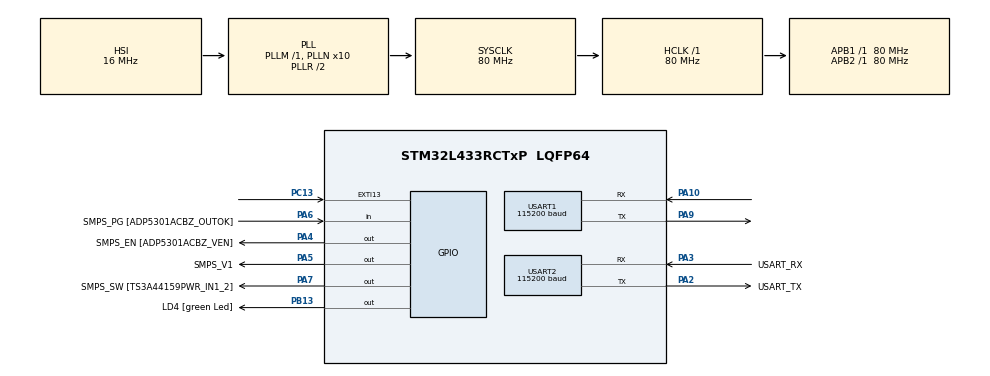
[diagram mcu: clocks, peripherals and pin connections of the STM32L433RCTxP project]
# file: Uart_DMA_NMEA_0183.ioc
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Dma.Request0=USART2_TX
Dma.Request1=USART1_RX
Dma.Request2=USART2_RX
Dma.USART1_RX.1.Direction=DMA_PERIPH_TO_MEMORY
Dma.USART1_RX.1.Instance=DMA1_Channel5
Dma.USART1_RX.1.MemDataAlignment=DMA_MDATAALIGN_BYTE
Dma.USART1_RX.1.MemInc=DMA_MINC_ENABLE
Dma.USART1_RX.1.Mode=DMA_CIRCULAR
Dma.USART1_RX.1.PeriphDataAlignment=DMA_PDATAALIGN_BYTE
Dma.USART1_RX.1.PeriphInc=DMA_PINC_DISABLE
Dma.USART1_RX.1.Priority=DMA_PRIORITY_VERY_HIGH
Dma.USART2_RX.2.Direction=DMA_PERIPH_TO_MEMORY
Dma.USART2_RX.2.Instance=DMA1_Channel6
Dma.USART2_RX.2.MemDataAlignment=DMA_MDATAALIGN_BYTE
Dma.USART2_RX.2.MemInc=DMA_MINC_ENABLE
Dma.USART2_RX.2.Mode=DMA_NORMAL
Dma.USART2_RX.2.PeriphDataAlignment=DMA_PDATAALIGN_BYTE
Dma.USART2_RX.2.PeriphInc=DMA_PINC_DISABLE
Dma.USART2_RX.2.Priority=DMA_PRIORITY_LOW
Dma.USART2_TX.0.Direction=DMA_MEMORY_TO_PERIPH
Dma.USART2_TX.0.Instance=DMA1_Channel7
Dma.USART2_TX.0.MemDataAlignment=DMA_MDATAALIGN_BYTE
Dma.USART2_TX.0.MemInc=DMA_MINC_ENABLE
Dma.USART2_TX.0.Mode=DMA_CIRCULAR
Dma.USART2_TX.0.PeriphDataAlignment=DMA_PDATAALIGN_BYTE
Dma.USART2_TX.0.PeriphInc=DMA_PINC_DISABLE
Dma.USART2_TX.0.Priority=DMA_PRIORITY_VERY_HIGH
Mcu.Family=STM32L4
Mcu.Name=STM32L433RCTxP
Mcu.Package=LQFP64
NVIC.DMA1_Channel5_IRQn=true\:0\:0\:false\:false\:true\:false\:true\:true
NVIC.DMA1_Channel6_IRQn=true\:0\:0\:false\:false\:true\:false\:true\:true
NVIC.DMA1_Channel7_IRQn=true\:0\:0\:false\:false\:true\:false\:true\:true
NVIC.PriorityGroup=NVIC_PRIORITYGROUP_4
NVIC.USART1_IRQn=true\:0\:0\:false\:false\:true\:true\:true\:true
NVIC.USART2_IRQn=true\:0\:0\:false\:false\:true\:true\:true\:true
PA10.Mode=Asynchronous
PA10.Signal=USART1_RX
PA13\ (JTMS-SWDIO).GPIO_Label=TMS
PA13\ (JTMS-SWDIO).Mode=Serial_Wire
PA13\ (JTMS-SWDIO).Signal=SYS_JTMS-SWDIO
PA14\ (JTCK-SWCLK).GPIO_Label=TCK
PA14\ (JTCK-SWCLK).Mode=Serial_Wire
PA14\ (JTCK-SWCLK).Signal=SYS_JTCK-SWCLK
PA2.GPIO_Label=USART_TX
PA2.GPIO_Mode=GPIO_MODE_AF_PP
PA2.GPIO_PuPd=GPIO_NOPULL
PA2.GPIO_Speed=GPIO_SPEED_FREQ_VERY_HIGH
PA2.Mode=Asynchronous
PA2.Signal=USART2_TX
PA3.GPIO_Label=USART_RX
PA3.GPIO_Mode=GPIO_MODE_AF_PP
PA3.GPIO_PuPd=GPIO_NOPULL
PA3.GPIO_Speed=GPIO_SPEED_FREQ_VERY_HIGH
PA3.Mode=Asynchronous
PA3.Signal=USART2_RX
PA4.GPIO_Label=SMPS_EN [ADP5301ACBZ_VEN]
PA4.Signal=GPIO_Output
PA5.GPIO_Label=SMPS_V1
PA5.GPIO_ModeDefaultOutputPP=GPIO_MODE_OUTPUT_PP
PA5.GPIO_PuPd=GPIO_NOPULL
PA5.GPIO_Speed=GPIO_SPEED_FREQ_LOW
PA5.Signal=GPIO_Output
PA6.GPIO_Label=SMPS_PG [ADP5301ACBZ_OUTOK]
PA6.GPIO_PuPd=GPIO_PULLUP
PA6.Signal=GPIO_Input
PA7.GPIO_Label=SMPS_SW [TS3A44159PWR_IN1_2]
PA7.Signal=GPIO_Output
PA9.Mode=Asynchronous
PA9.Signal=USART1_TX
PB13.GPIO_Label=LD4 [green Led]
PB13.Signal=GPIO_Output
PB3\ (JTDO-TRACESWO).GPIO_Label=SWO
PB3\ (JTDO-TRACESWO).Signal=SYS_JTDO-SWO
PC13.GPIO_ModeDefaultEXTI=GPIO_MODE_IT_RISING
PC13.Signal=GPXTI13
PC14-OSC32_IN\ (PC14).Mode=LSE-External-Oscillator
PC14-OSC32_IN\ (PC14).Signal=RCC_OSC32_IN
PC15-OSC32_OUT\ (PC15).Mode=LSE-External-Oscillator
PC15-OSC32_OUT\ (PC15).Signal=RCC_OSC32_OUT
PH0-OSC_IN\ (PH0).GPIO_Label=MCO
PH0-OSC_IN\ (PH0).Mode=HSE-External-Clock-Source
PH0-OSC_IN\ (PH0).Signal=RCC_OSC_IN
PH1-OSC_OUT\ (PH1).Signal=RCC_OSC_OUT
ProjectManager.HeapSize=0x200
ProjectManager.StackSize=0x400
ProjectManager.TargetToolchain=EWARM V8.32
RCC.ADCFreq_Value=64000000
RCC.AHBFreq_Value=80000000
RCC.APB1Freq_Value=80000000
RCC.APB1TimFreq_Value=80000000
RCC.APB2Freq_Value=80000000
RCC.APB2TimFreq_Value=80000000
RCC.CortexFreq_Value=80000000
RCC.HCLKFreq_Value=80000000
RCC.HSE_VALUE=8000000
RCC.HSI48_VALUE=48000000
RCC.HSI_VALUE=16000000
RCC.MSI_VALUE=4000000
RCC.PLLN=10
RCC.PLLSourceVirtual=RCC_PLLSOURCE_HSI
RCC.PREFETCH_ENABLE=1
RCC.SYSCLKFreq_VALUE=80000000
RCC.SYSCLKSource=RCC_SYSCLKSOURCE_PLLCLK
RCC.USBFreq_Value=64000000
RCC.VCOOutputFreq_Value=160000000
USART1.BaudRate=115200
USART1.VirtualMode-Asynchronous=VM_ASYNC
USART2.BaudRate=115200
USART2.VirtualMode-Asynchronous=VM_ASYNC
board=NUCLEO-L433RC-P

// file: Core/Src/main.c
/* USER CODE BEGIN Header */
/**
  ******************************************************************************
  * @file           : main.c
  * @brief          : Main program body
  ******************************************************************************
  * @attention
  *
  * Copyright (c) 2022 STMicroelectronics.
  * All rights reserved.
  *
  * This software is licensed under terms that can be found in the LICENSE file
  * in the root directory of this software component.
  * If no LICENSE file comes with this software, it is provided AS-IS.
  *
  ******************************************************************************
  */
/* USER CODE END Header */
#include "main.h"

/* USER CODE BEGIN PTD */
#define MAX_BUFFER_SIZE (256)
/* USER CODE END PTD */

UART_HandleTypeDef huart1;
UART_HandleTypeDef huart2;
DMA_HandleTypeDef hdma_usart1_rx;
DMA_HandleTypeDef hdma_usart2_tx;
DMA_HandleTypeDef hdma_usart2_rx;

void SystemClock_Config(void);
static void MX_GPIO_Init(void);
static void MX_DMA_Init(void);
static void MX_USART2_UART_Init(void);
static void MX_USART1_UART_Init(void);

/* USER CODE BEGIN 0 */

uint8_t temp_rx;
uint8_t cr_check=0;

typedef struct{
  uint8_t NEMA_0183_BUFF[MAX_BUFFER_SIZE];
  uint8_t NEMA_0183_LEN;
  uint8_t rx_start;
  uint8_t rx_finished;
  uint8_t check_sum_flag;
} NEMA_0183_RX;

NEMA_0183_RX NEMA_RX;

//struct clear
void NEMA_Init(NEMA_0183_RX* NEMA_st){

  NEMA_st->NEMA_0183_LEN=0;
  NEMA_st->rx_finished=0;
  NEMA_st->rx_start=0;
  NEMA_st->check_sum_flag= 0;
  memset(NEMA_st->NEMA_0183_BUFF,0,sizeof(NEMA_st->NEMA_0183_BUFF));

}
uint8_t char_hex[2]=0;

void Char2Hex(uint8_t ch)
{
 uint8_t saucHex[] = "0123456789ABCDEF";
 char_hex[0] = saucHex[ch >> 4];
 char_hex[1] = saucHex[ch&0x0F];
}
uint8_t NEMA_check_sum(NEMA_0183_RX* NEMA_st){

  uint8_t i=0;
  uint8_t check_sum=0;

  for(i=1;i<NEMA_st->NEMA_0183_LEN-5;i++){
    check_sum ^= NEMA_st->NEMA_0183_BUFF[i];
  }
  Char2Hex(check_sum);
  if(NEMA_st->NEMA_0183_BUFF[NEMA_st->NEMA_0183_LEN-4] == char_hex[0])
    if(NEMA_st->NEMA_0183_BUFF[NEMA_st->NEMA_0183_LEN-3] == char_hex[1])
      NEMA_st->check_sum_flag= 1;

  return check_sum;

}

void Buf_save(uint8_t rx_data){
  NEMA_RX.NEMA_0183_BUFF[NEMA_RX.NEMA_0183_LEN] = rx_data;
  NEMA_RX.NEMA_0183_LEN++;

  if(rx_data == '\r') cr_check =1;
  if(cr_check ==1 && rx_data == '\n'){
    NEMA_RX.rx_finished =1;
    NEMA_RX.rx_start=0;
    cr_check=0;
  }
}
void Starting_str_check(uint8_t rx_data){
  if(rx_data == '$'){
    NEMA_Init(&NEMA_RX);
    NEMA_RX.rx_start=1;
    NEMA_RX.NEMA_0183_BUFF[NEMA_RX.NEMA_0183_LEN] = rx_data;
    NEMA_RX.NEMA_0183_LEN++;
  }

}
/* USER CODE END PFP */

/* Private user code ---------------------------------------------------------*/
/* USER CODE BEGIN 0 */
void HAL_UART_RxCpltCallback(UART_HandleTypeDef *huart)
{

  // USART1 Rx Interrupt
  if (huart->Instance == USART1) {

    if(NEMA_RX.rx_start == 1){
      Buf_save(temp_rx);
    }
    Starting_str_check(temp_rx);
  }

  HAL_UART_Receive_DMA(&huart1, &temp_rx, 1);
}

/* USER CODE END 0 */

int main(void)
{

  /* MCU Configuration--------------------------------------------------------*/

  /* Reset of all peripherals, Initializes the Flash interface and the Systick. */
  HAL_Init();

  /* Configure the system clock */
  SystemClock_Config();

  /* Initialize all configured peripherals */
  MX_GPIO_Init();
  MX_DMA_Init();
  MX_USART2_UART_Init();
  MX_USART1_UART_Init();
  /* USER CODE BEGIN 2 */

  NEMA_Init(&NEMA_RX);

  HAL_UART_Transmit(&huart2,"heelo\r\n",10,100);
  HAL_UART_Receive_DMA(&huart1, &temp_rx, 1);
  /* USER CODE END 2 */

  /* Infinite loop */
  while (1)
  {
if(NEMA_RX.rx_finished == 1){
      uint8_t c_sum = NEMA_check_sum(&NEMA_RX);
      if(NEMA_RX.check_sum_flag == 1){
        HAL_UART_Transmit(&huart2,NEMA_RX.NEMA_0183_BUFF,NEMA_RX.NEMA_0183_LEN-1,100);

      }
      else{
        HAL_UART_Transmit(&huart2,"Check Sum Error!!!\r\n",30,100);
      }
     // HAL_UART_Transmit(&huart2,&c_sum,1,100);
      NEMA_RX.rx_finished = 0;

    }
  }
}

void SystemClock_Config(void)
{
  RCC_OscInitTypeDef RCC_OscInitStruct = {0};
  RCC_ClkInitTypeDef RCC_ClkInitStruct = {0};

  /** Configure the main internal regulator output voltage
  */
  if (HAL_PWREx_ControlVoltageScaling(PWR_REGULATOR_VOLTAGE_SCALE1) != HAL_OK)
  {
    Error_Handler();
  }

  /** Initializes the RCC Oscillators according to the specified parameters
  * in the RCC_OscInitTypeDef structure.
  */
  RCC_OscInitStruct.OscillatorType = RCC_OSCILLATORTYPE_HSI;
  RCC_OscInitStruct.HSIState = RCC_HSI_ON;
  RCC_OscInitStruct.HSICalibrationValue = RCC_HSICALIBRATION_DEFAULT;
  RCC_OscInitStruct.PLL.PLLState = RCC_PLL_ON;
  RCC_OscInitStruct.PLL.PLLSource = RCC_PLLSOURCE_HSI;
  RCC_OscInitStruct.PLL.PLLM = 1;
  RCC_OscInitStruct.PLL.PLLN = 10;
  RCC_OscInitStruct.PLL.PLLP = RCC_PLLP_DIV7;
  RCC_OscInitStruct.PLL.PLLQ = RCC_PLLQ_DIV2;
  RCC_OscInitStruct.PLL.PLLR = RCC_PLLR_DIV2;
  if (HAL_RCC_OscConfig(&RCC_OscInitStruct) != HAL_OK)
  {
    Error_Handler();
  }

  /** Initializes the CPU, AHB and APB buses clocks
  */
  RCC_ClkInitStruct.ClockType = RCC_CLOCKTYPE_HCLK|RCC_CLOCKTYPE_SYSCLK
                              |RCC_CLOCKTYPE_PCLK1|RCC_CLOCKTYPE_PCLK2;
  RCC_ClkInitStruct.SYSCLKSource = RCC_SYSCLKSOURCE_PLLCLK;
  RCC_ClkInitStruct.AHBCLKDivider = RCC_SYSCLK_DIV1;
  RCC_ClkInitStruct.APB1CLKDivider = RCC_HCLK_DIV1;
  RCC_ClkInitStruct.APB2CLKDivider = RCC_HCLK_DIV1;

  if (HAL_RCC_ClockConfig(&RCC_ClkInitStruct, FLASH_LATENCY_4) != HAL_OK)
  {
    Error_Handler();
  }
}

static void MX_USART1_UART_Init(void)
{

  huart1.Instance = USART1;
  huart1.Init.BaudRate = 115200;
  huart1.Init.WordLength = UART_WORDLENGTH_8B;
  huart1.Init.StopBits = UART_STOPBITS_1;
  huart1.Init.Parity = UART_PARITY_NONE;
  huart1.Init.Mode = UART_MODE_TX_RX;
  huart1.Init.HwFlowCtl = UART_HWCONTROL_NONE;
  huart1.Init.OverSampling = UART_OVERSAMPLING_16;
  huart1.Init.OneBitSampling = UART_ONE_BIT_SAMPLE_DISABLE;
  huart1.AdvancedInit.AdvFeatureInit = UART_ADVFEATURE_NO_INIT;
  if (HAL_UART_Init(&huart1) != HAL_OK)
  {
    Error_Handler();
  }

}

static void MX_USART2_UART_Init(void)
{

  huart2.Instance = USART2;
  huart2.Init.BaudRate = 115200;
  huart2.Init.WordLength = UART_WORDLENGTH_8B;
  huart2.Init.StopBits = UART_STOPBITS_1;
  huart2.Init.Parity = UART_PARITY_NONE;
  huart2.Init.Mode = UART_MODE_TX_RX;
  huart2.Init.HwFlowCtl = UART_HWCONTROL_NONE;
  huart2.Init.OverSampling = UART_OVERSAMPLING_16;
  huart2.Init.OneBitSampling = UART_ONE_BIT_SAMPLE_DISABLE;
  huart2.AdvancedInit.AdvFeatureInit = UART_ADVFEATURE_NO_INIT;
  if (HAL_UART_Init(&huart2) != HAL_OK)
  {
    Error_Handler();
  }

}

static void MX_DMA_Init(void)
{

  /* DMA controller clock enable */
  __HAL_RCC_DMA1_CLK_ENABLE();

  /* DMA interrupt init */
  /* DMA1_Channel5_IRQn interrupt configuration */
  HAL_NVIC_SetPriority(DMA1_Channel5_IRQn, 0, 0);
  HAL_NVIC_EnableIRQ(DMA1_Channel5_IRQn);
  /* DMA1_Channel6_IRQn interrupt configuration */
  HAL_NVIC_SetPriority(DMA1_Channel6_IRQn, 0, 0);
  HAL_NVIC_EnableIRQ(DMA1_Channel6_IRQn);
  /* DMA1_Channel7_IRQn interrupt configuration */
  HAL_NVIC_SetPriority(DMA1_Channel7_IRQn, 0, 0);
  HAL_NVIC_EnableIRQ(DMA1_Channel7_IRQn);

}

static void MX_GPIO_Init(void)
{
  GPIO_InitTypeDef GPIO_InitStruct = {0};

  /* GPIO Ports Clock Enable */
  __HAL_RCC_GPIOC_CLK_ENABLE();
  __HAL_RCC_GPIOH_CLK_ENABLE();
  __HAL_RCC_GPIOA_CLK_ENABLE();
  __HAL_RCC_GPIOB_CLK_ENABLE();

  /*Configure GPIO pin Output Level */
  HAL_GPIO_WritePin(GPIOA, SMPS_EN_Pin|SMPS_V1_Pin|SMPS_SW_Pin, GPIO_PIN_RESET);

  /*Configure GPIO pin Output Level */
  HAL_GPIO_WritePin(LD4_GPIO_Port, LD4_Pin, GPIO_PIN_RESET);

  /*Configure GPIO pin : PC13 */
  GPIO_InitStruct.Pin = GPIO_PIN_13;
  GPIO_InitStruct.Mode = GPIO_MODE_IT_RISING;
  GPIO_InitStruct.Pull = GPIO_NOPULL;
  HAL_GPIO_Init(GPIOC, &GPIO_InitStruct);

  /*Configure GPIO pins : SMPS_EN_Pin SMPS_V1_Pin SMPS_SW_Pin */
  GPIO_InitStruct.Pin = SMPS_EN_Pin|SMPS_V1_Pin|SMPS_SW_Pin;
  GPIO_InitStruct.Mode = GPIO_MODE_OUTPUT_PP;
  GPIO_InitStruct.Pull = GPIO_NOPULL;
  GPIO_InitStruct.Speed = GPIO_SPEED_FREQ_LOW;
  HAL_GPIO_Init(GPIOA, &GPIO_InitStruct);

  /*Configure GPIO pin : SMPS_PG_Pin */
  GPIO_InitStruct.Pin = SMPS_PG_Pin;
  GPIO_InitStruct.Mode = GPIO_MODE_INPUT;
  GPIO_InitStruct.Pull = GPIO_PULLUP;
  HAL_GPIO_Init(SMPS_PG_GPIO_Port, &GPIO_InitStruct);

  /*Configure GPIO pin : LD4_Pin */
  GPIO_InitStruct.Pin = LD4_Pin;
  GPIO_InitStruct.Mode = GPIO_MODE_OUTPUT_PP;
  GPIO_InitStruct.Pull = GPIO_NOPULL;
  GPIO_InitStruct.Speed = GPIO_SPEED_FREQ_LOW;
  HAL_GPIO_Init(LD4_GPIO_Port, &GPIO_InitStruct);

}

void Error_Handler(void)
{
  __disable_irq();
  while (1)
  {
  }
}
